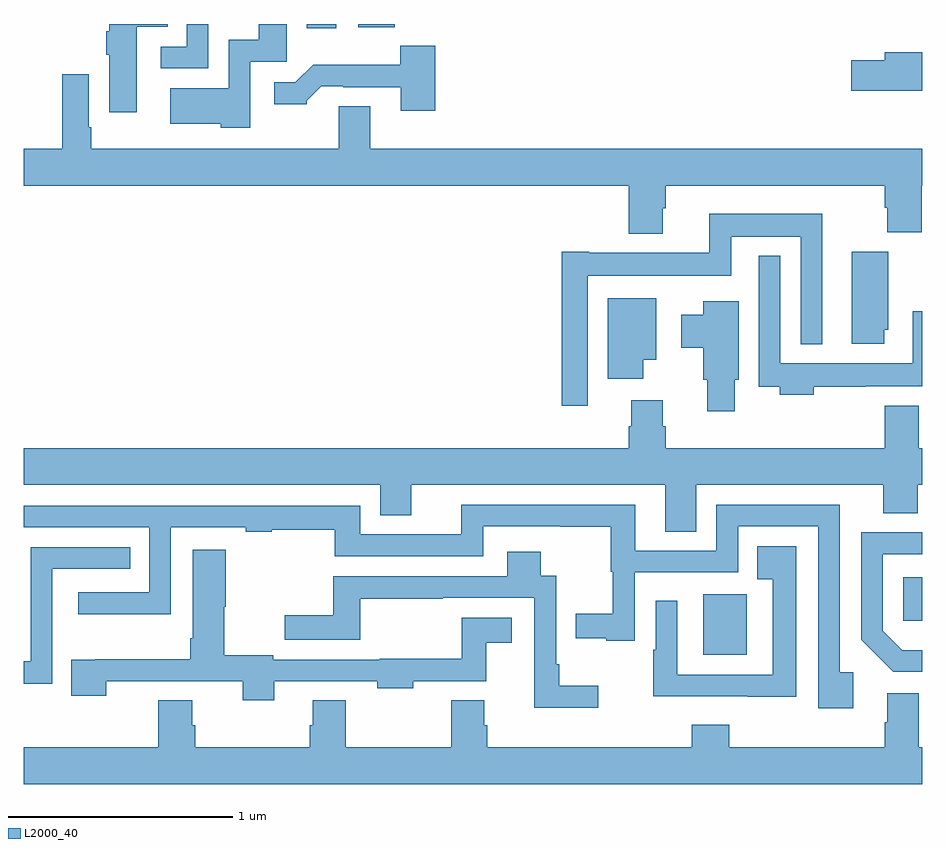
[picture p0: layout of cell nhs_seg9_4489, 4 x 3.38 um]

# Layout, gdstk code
import gdstk
lib = gdstk.Library(unit=1e-6, precision=1e-09)
def R(c, l, rs):  # rectangles x0, y0, x1, y1
    for r in rs: c.add(gdstk.rectangle(r[:2], r[2:], *l))
def P(c, l, *ps):  # polygons
    for p in ps: c.add(gdstk.Polygon(p, *l))
L2000_40 = (2000, 40)

nhs_seg9_4489 = lib.new_cell('nhs_seg9_4489')
R(nhs_seg9_4489, L2000_40, [(372.026,1167.692,372.22,1167.96), (372.915,1167.842,373,1168.036), (370.259,1170.48,370.39,1170.5), (370.49,1170.485,370.652,1170.5)])
P(nhs_seg9_4489, L2000_40, [(369.502,1170.488),(369.641,1170.488),(369.641,1170.5),(369.38,1170.5),(369.38,1170.467),(369.368,1170.467),(369.368,1170.364),(369.38,1170.364),(369.38,1170.108),(369.502,1170.108)],
  [(369.822,1170.5),(369.726,1170.5),(369.726,1170.399),(369.609,1170.399),(369.609,1170.303),(369.822,1170.303)],
  [(370.008,1170.333),(370.171,1170.333),(370.171,1170.5),(370.046,1170.5),(370.046,1170.43),(369.912,1170.43),(369.912,1170.214),(369.651,1170.214),(369.651,1170.056),(369.876,1170.056),(369.876,1170.038),(370.008,1170.038)],
  [(370.832,1170.403),(370.677,1170.403),(370.677,1170.319),(370.288,1170.319),(370.209,1170.24),(370.116,1170.24),(370.116,1170.143),(370.26,1170.143),(370.26,1170.158),(370.324,1170.222),(370.423,1170.222),(370.423,1170.219),(370.679,1170.219),(370.679,1170.114),(370.832,1170.114)],
  [(373,1170.374),(372.833,1170.374),(372.833,1170.338),(372.684,1170.338),(372.684,1170.203),(373,1170.203)],
  [(370.543,1170.134),(370.403,1170.134),(370.403,1169.944),(369.301,1169.944),(369.301,1170.04),(369.288,1170.04),(369.288,1170.277),(369.172,1170.277),(369.172,1169.944),(369,1169.944),(369,1169.78),(371.693,1169.78),(371.693,1169.567),(371.845,1169.567),(371.845,1169.679),(371.858,1169.679),(371.858,1169.78),(372.833,1169.78),(372.833,1169.681),(372.845,1169.681),(372.845,1169.572),(372.998,1169.572),(372.998,1169.78),(373,1169.78),(373,1169.944),(370.543,1169.944)],
  [(371.511,1169.378),(372.15,1169.378),(372.15,1169.552),(372.459,1169.552),(372.459,1169.075),(372.556,1169.075),(372.556,1169.656),(372.053,1169.656),(372.053,1169.482),(371.518,1169.482),(371.518,1169.485),(371.395,1169.485),(371.395,1168.8),(371.511,1168.8)],
  [(372.832,1169.139),(372.85,1169.139),(372.85,1169.487),(372.686,1169.487),(372.686,1169.076),(372.832,1169.076)],
  [(372.518,1168.884),(372.749,1168.884),(372.749,1168.886),(373,1168.886),(373,1169.221),(372.957,1169.221),(372.957,1168.99),(372.369,1168.99),(372.369,1169.467),(372.273,1169.467),(372.273,1168.884),(372.365,1168.884),(372.365,1168.85),(372.518,1168.85)],
  [(371.758,1169.006),(371.815,1169.006),(371.815,1169.278),(371.6,1169.278),(371.6,1168.92),(371.758,1168.92)],
  [(372.166,1168.917),(372.184,1168.917),(372.184,1169.266),(372.026,1169.266),(372.026,1169.206),(371.927,1169.206),(371.927,1169.059),(372.026,1169.059),(372.026,1168.917),(372.044,1168.917),(372.044,1168.776),(372.166,1168.776)],
  [(371.995,1168.448),(372.827,1168.448),(372.827,1168.321),(372.98,1168.321),(372.98,1168.448),(373,1168.448),(373,1168.612),(372.985,1168.612),(372.985,1168.801),(372.833,1168.801),(372.833,1168.612),(371.858,1168.612),(371.858,1168.71),(371.845,1168.71),(371.845,1168.825),(371.705,1168.825),(371.705,1168.71),(371.693,1168.71),(371.693,1168.612),(369,1168.612),(369,1168.448),(370.586,1168.448),(370.586,1168.312),(370.726,1168.312),(370.726,1168.448),(371.855,1168.448),(371.855,1168.24),(371.995,1168.24)],
  [(372.694,1167.614),(372.633,1167.614),(372.633,1168.359),(372.084,1168.359),(372.084,1168.155),(371.722,1168.155),(371.722,1168.359),(370.948,1168.359),(370.948,1168.227),(370.497,1168.227),(370.497,1168.356),(369,1168.356),(369,1168.26),(369.558,1168.26),(369.558,1167.969),(369.243,1167.969),(369.243,1167.872),(369.654,1167.872),(369.654,1168.26),(369.988,1168.26),(369.988,1168.24),(370.104,1168.24),(370.104,1168.248),(370.385,1168.248),(370.385,1168.131),(371.046,1168.131),(371.046,1168.263),(371.389,1168.263),(371.389,1168.261),(371.613,1168.261),(371.613,1168.062),(371.623,1168.062),(371.623,1167.874),(371.457,1167.874),(371.457,1167.764),(371.594,1167.764),(371.594,1167.753),(371.721,1167.753),(371.721,1168.059),(372.18,1168.059),(372.18,1168.263),(372.537,1168.263),(372.537,1167.453),(372.694,1167.453)],
  [(373,1167.712),(372.911,1167.712),(372.825,1167.798),(372.825,1168.14),(373,1168.14),(373,1168.236),(372.729,1168.236),(372.729,1167.758),(372.872,1167.615),(373,1167.615)],
  [(372.439,1168.174),(372.265,1168.174),(372.265,1168.028),(372.335,1168.028),(372.335,1167.603),(371.91,1167.603),(371.91,1167.931),(371.814,1167.931),(371.814,1167.714),(371.802,1167.714),(371.802,1167.507),(372.223,1167.507),(372.223,1167.505),(372.439,1167.505)],
  [(369.126,1168.074),(369.473,1168.074),(369.473,1168.17),(369.03,1168.17),(369.03,1167.663),(369,1167.663),(369,1167.562),(369.126,1167.562)],
  [(370.114,1167.573),(370.573,1167.573),(370.573,1167.542),(370.733,1167.542),(370.733,1167.573),(371.06,1167.573),(371.06,1167.746),(371.173,1167.746),(371.173,1167.856),(370.95,1167.856),(370.95,1167.674),(370.584,1167.674),(370.584,1167.669),(370.11,1167.669),(370.11,1167.689),(369.892,1167.689),(369.892,1167.906),(369.9,1167.906),(369.9,1168.159),(369.752,1168.159),(369.752,1167.766),(369.74,1167.766),(369.74,1167.671),(369.319,1167.671),(369.319,1167.669),(369.211,1167.669),(369.211,1167.51),(369.368,1167.51),(369.368,1167.573),(369.974,1167.573),(369.974,1167.488),(370.114,1167.488)],
  [(371.557,1167.554),(371.383,1167.554),(371.383,1167.649),(371.37,1167.649),(371.37,1168.044),(371.301,1168.044),(371.301,1168.15),(371.153,1168.15),(371.153,1168.041),(370.377,1168.041),(370.377,1167.868),(370.161,1167.868),(370.161,1167.759),(370.498,1167.759),(370.498,1167.94),(370.865,1167.94),(370.865,1167.945),(371.273,1167.945),(371.273,1167.455),(371.557,1167.455)],
  [(373,1167.28),(372.985,1167.28),(372.985,1167.52),(372.845,1167.52),(372.845,1167.392),(372.833,1167.392),(372.833,1167.28),(372.14,1167.28),(372.14,1167.379),(371.975,1167.379),(371.975,1167.28),(371.063,1167.28),(371.063,1167.378),(371.05,1167.378),(371.05,1167.488),(370.903,1167.488),(370.903,1167.28),(370.434,1167.28),(370.434,1167.488),(370.286,1167.488),(370.286,1167.378),(370.274,1167.378),(370.274,1167.28),(369.764,1167.28),(369.764,1167.378),(369.751,1167.378),(369.751,1167.488),(369.599,1167.488),(369.599,1167.28),(369,1167.28),(369,1167.116),(373,1167.116)])

lib.write_gds('nhs_seg9_4489.gds')
